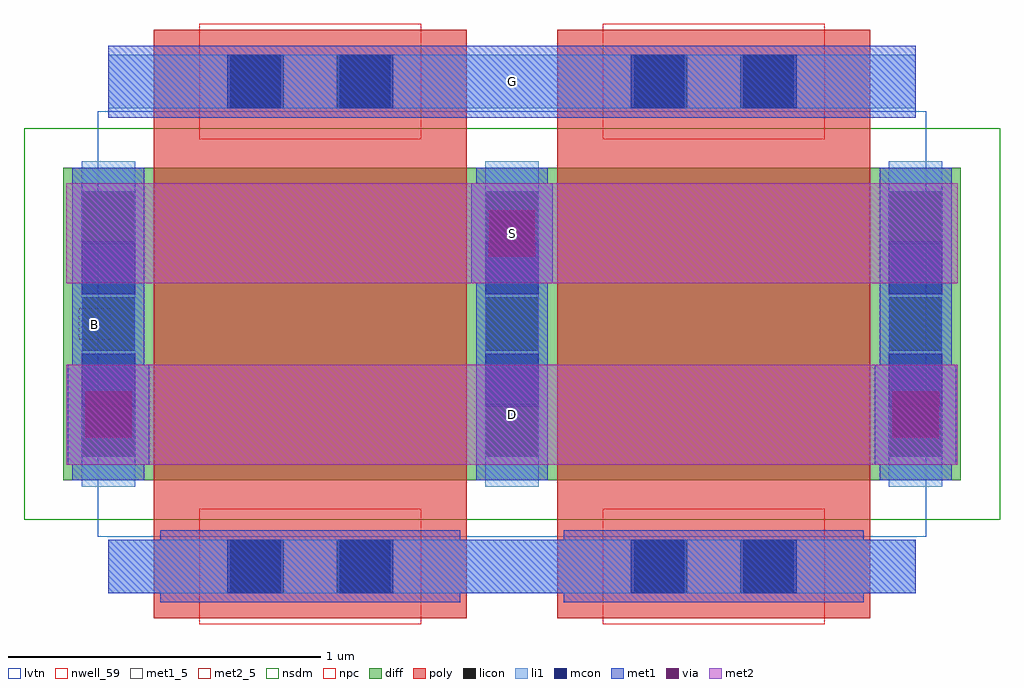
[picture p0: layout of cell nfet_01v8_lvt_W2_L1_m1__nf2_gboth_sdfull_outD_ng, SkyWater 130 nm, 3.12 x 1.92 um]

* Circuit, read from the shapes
.subckt nfet_01v8_lvt_W2_L1_m1__nf2_gboth_sdfull_outD_ng B D G S
XM1 S G D B sky130_fd_pr__nfet_01v8_lvt w=1 l=1 m=2
.ends

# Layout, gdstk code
import gdstk
lib = gdstk.Library(unit=1e-6, precision=1e-09)
def R(c, l, rs):  # rectangles x0, y0, x1, y1
    for r in rs: c.add(gdstk.rectangle(r[:2], r[2:], *l))
def A(c, l, x, y, w, h, nx, ny, dx, dy):  # array of equal rectangles
    R(c, l, [(x+i*dx, y+j*dy, x+i*dx+w, y+j*dy+h) for i in range(nx) for j in range(ny)])
nwell_59 = (64, 59)
diff = (65, 20)
poly = (66, 20)
licon = (66, 44)
li1 = (67, 20)
mcon = (67, 44)
met1_5 = (68, 5)
met1 = (68, 20)
via = (68, 44)
met2_5 = (69, 5)
met2 = (69, 20)
nsdm = (93, 44)
npc = (95, 20)
lvtn = (125, 44)

sky130_fd_pr__nfet_01v8_ = lib.new_cell('sky130_fd_pr__nfet_01v8_lvt_YDFGRS')
R(sky130_fd_pr__nfet_01v8_, diff, [(-1.435,-0.5,1.435,0.5)])
R(sky130_fd_pr__nfet_01v8_, poly, [(-1.145,-0.94,-0.145,0.94), (0.145,-0.94,1.145,0.94)])
A(sky130_fd_pr__nfet_01v8_, licon, -1.375, -0.425, 0.17, 0.17, 3, 3, 1.29, 0.34)
R(sky130_fd_pr__nfet_01v8_, licon, [(-0.9,-0.86,-0.73,-0.69), (-0.56,-0.86,-0.39,-0.69), (0.39,-0.86,0.56,-0.69), (0.73,-0.86,0.9,-0.69), (-0.9,0.69,-0.73,0.86), (-0.56,0.69,-0.39,0.86), (0.39,0.69,0.56,0.86), (0.73,0.69,0.9,0.86)])
A(sky130_fd_pr__nfet_01v8_, li1, -1.375, -0.52, 0.17, 1.04, 3, 1, 1.29, 0)
R(sky130_fd_pr__nfet_01v8_, li1, [(-1.29,-0.86,1.29,-0.69), (-1.29,0.69,1.29,0.86)])
A(sky130_fd_pr__nfet_01v8_, mcon, -1.375, -0.265, 0.17, 0.17, 3, 2, 1.29, 0.36)
R(sky130_fd_pr__nfet_01v8_, mcon, [(-0.91,-0.86,-0.74,-0.69), (-0.55,-0.86,-0.38,-0.69), (0.38,-0.86,0.55,-0.69), (0.74,-0.86,0.91,-0.69), (-0.91,0.69,-0.74,0.86), (-0.55,0.69,-0.38,0.86), (0.38,0.69,0.55,0.86), (0.74,0.69,0.91,0.86)])
A(sky130_fd_pr__nfet_01v8_, met1, -1.405, -0.5, 0.23, 1, 3, 1, 1.29, 0)
R(sky130_fd_pr__nfet_01v8_, met1, [(-1.125,-0.89,-0.165,-0.86), (0.165,-0.89,1.125,-0.86), (-1.29,-0.86,1.29,-0.69), (-1.125,-0.69,-0.165,-0.66), (0.165,-0.69,1.125,-0.66), (-1.125,0.66,-0.165,0.69), (0.165,0.66,1.125,0.69), (-1.29,0.69,1.29,0.86), (-1.125,0.86,-0.165,0.89), (0.165,0.86,1.125,0.89)])
R(sky130_fd_pr__nfet_01v8_, nsdm, [(-1.56,-0.625,1.56,0.625)])
R(sky130_fd_pr__nfet_01v8_, npc, [(-1,-0.96,-0.29,-0.59), (0.29,-0.96,1,-0.59), (-1,0.59,-0.29,0.96), (0.29,0.59,1,0.96)])
R(sky130_fd_pr__nfet_01v8_, lvtn, [(-1.325,-0.68,1.325,0.68)])
sky130_fd_pr__nfet_01v8_.add(gdstk.Label('D0', (-1.29,0), layer=67, texttype=5))
sky130_fd_pr__nfet_01v8_.add(gdstk.Label('G', (0.645,0.775), layer=67, texttype=5))
sky130_fd_pr__nfet_01v8_.add(gdstk.Label('G', (-0.645,0.775), layer=67, texttype=5))
sky130_fd_pr__nfet_01v8_.add(gdstk.Label('S1', (0,0), layer=67, texttype=5))

nfet_01v8_lvt_w2_l1_m1__ = lib.new_cell('nfet_01v8_lvt_W2_L1_m1__nf2_gboth_sdfull_outD_ng')
R(nfet_01v8_lvt_w2_l1_m1__, nwell_59, [(0.05,0.89,0.15,0.99)])
R(nfet_01v8_lvt_w2_l1_m1__, met1_5, [(0.145,1.6,2.725,1.83)])
R(nfet_01v8_lvt_w2_l1_m1__, met1, [(0.015,0.49,0.275,0.81), (2.595,0.49,2.855,0.81), (1.305,1.07,1.565,1.39), (0.145,1.6,2.725,1.83)])
R(nfet_01v8_lvt_w2_l1_m1__, via, [(0.07,0.575,0.22,0.725), (2.65,0.575,2.8,0.725), (1.36,1.155,1.51,1.305)])
R(nfet_01v8_lvt_w2_l1_m1__, met2_5, [(0.01,0.49,2.86,0.81), (0.01,1.07,2.86,1.39)])
R(nfet_01v8_lvt_w2_l1_m1__, met2, [(0.01,0.49,2.86,0.81), (0.01,1.07,2.86,1.39)])
nfet_01v8_lvt_w2_l1_m1__.add(gdstk.Reference(sky130_fd_pr__nfet_01v8_, (1.435,0.94)))
nfet_01v8_lvt_w2_l1_m1__.add(gdstk.Label('S', (1.435,1.23), layer=69, texttype=5))
nfet_01v8_lvt_w2_l1_m1__.add(gdstk.Label('D', (1.435,0.65), layer=69, texttype=5))
nfet_01v8_lvt_w2_l1_m1__.add(gdstk.Label('G', (1.435,1.715), layer=68, texttype=5))
nfet_01v8_lvt_w2_l1_m1__.add(gdstk.Label('B', (0.1,0.94), layer=64, texttype=59))

lib.write_gds('nfet_01v8_lvt_W2_L1_m1__nf2_gboth_sdfull_outD_ng.gds')
